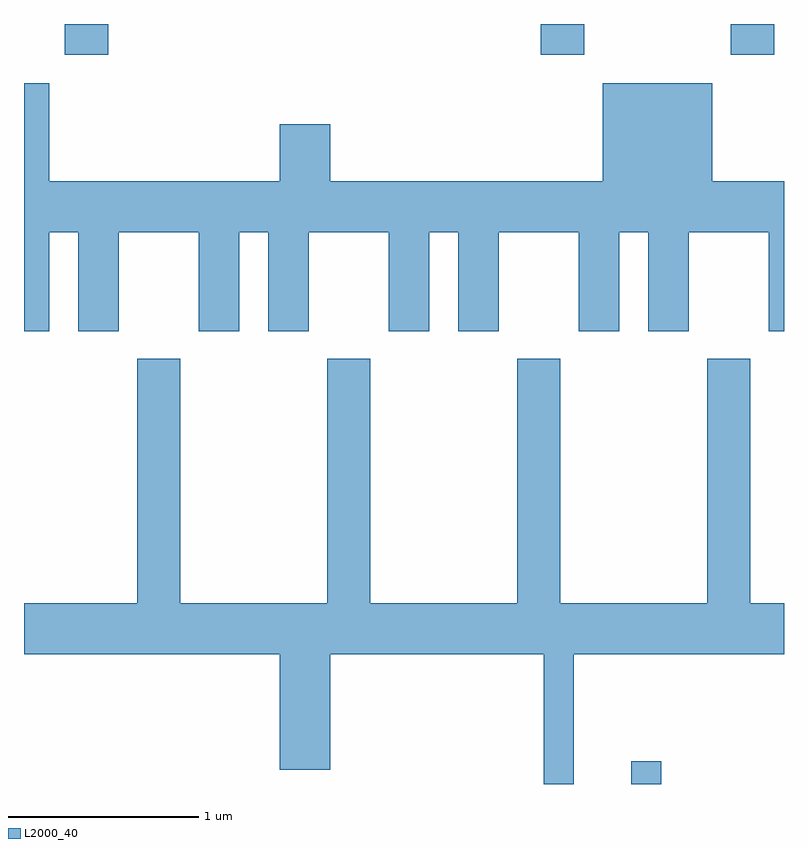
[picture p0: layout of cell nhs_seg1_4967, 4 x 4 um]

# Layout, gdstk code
import gdstk
lib = gdstk.Library(unit=1e-6, precision=1e-09)
def R(c, l, rs):  # rectangles x0, y0, x1, y1
    for r in rs: c.add(gdstk.rectangle(r[:2], r[2:], *l))
def P(c, l, *ps):  # polygons
    for p in ps: c.add(gdstk.Polygon(p, *l))
L2000_40 = (2000, 40)

nhs_seg1_4967 = lib.new_cell('nhs_seg1_4967')
R(nhs_seg1_4967, L2000_40, [(336.806,967.712,336.964,967.833), (333.826,971.551,334.054,971.712), (336.331,971.551,336.559,971.712), (337.331,971.551,337.559,971.712)])
P(nhs_seg1_4967, L2000_40, [(333.744,970.616),(333.896,970.616),(333.896,970.096),(334.109,970.096),(334.109,970.616),(334.531,970.616),(334.531,970.096),(334.744,970.096),(334.744,970.616),(334.896,970.616),(334.896,970.096),(335.109,970.096),(335.109,970.616),(335.531,970.616),(335.531,970.096),(335.744,970.096),(335.744,970.616),(335.896,970.616),(335.896,970.096),(336.109,970.096),(336.109,970.616),(336.531,970.616),(336.531,970.096),(336.744,970.096),(336.744,970.616),(336.896,970.616),(336.896,970.096),(337.109,970.096),(337.109,970.616),(337.531,970.616),(337.531,970.096),(337.611,970.096),(337.611,970.884),(337.234,970.884),(337.234,971.399),(336.656,971.399),(336.656,970.884),(335.224,970.884),(335.224,971.184),(334.956,971.184),(334.956,970.884),(333.744,970.884),(333.744,971.399),(333.611,971.399),(333.611,970.096),(333.744,970.096)],
  [(336.504,968.396),(337.611,968.396),(337.611,968.664),(337.434,968.664),(337.434,969.949),(337.206,969.949),(337.206,968.664),(336.434,968.664),(336.434,969.949),(336.206,969.949),(336.206,968.664),(335.434,968.664),(335.434,969.949),(335.206,969.949),(335.206,968.664),(334.434,968.664),(334.434,969.949),(334.206,969.949),(334.206,968.664),(333.611,968.664),(333.611,968.396),(334.956,968.396),(334.956,967.786),(335.224,967.786),(335.224,968.396),(336.346,968.396),(336.346,967.712),(336.504,967.712)])

lib.write_gds('nhs_seg1_4967.gds')
